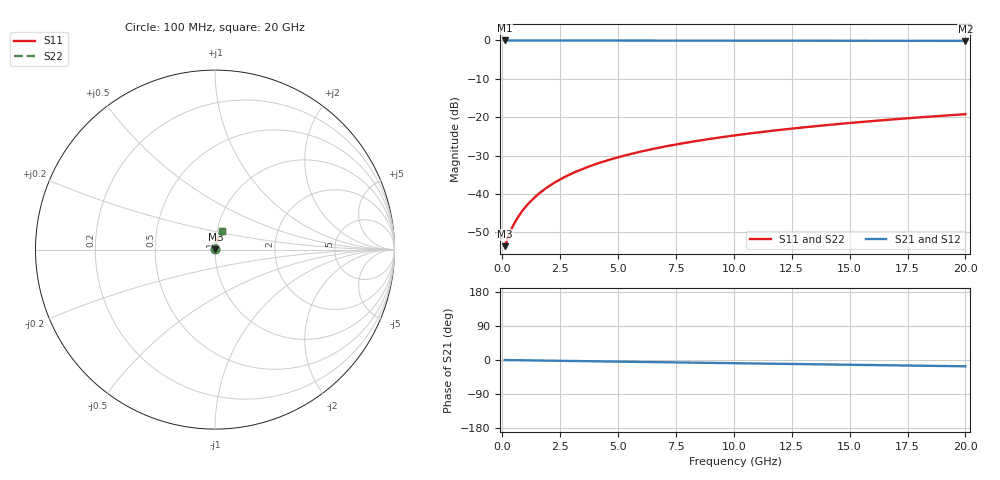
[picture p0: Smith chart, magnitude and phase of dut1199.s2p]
! Touchstone file exported from HFSS 2026.1.0
!  File:  C:/ffzhzh/LocalFiles/Ansys_Project_Files/temp_train_TMRDL_1199_1783162951_55132.aedt
!  Generated:  07:03:41 PM Jul  4, 2026
!  Design:  TMRDL
!  Project:  temp_train_TMRDL_1199_1783162951_55132
! Variables:
!  h_bsmrdl = 2um
!  h_ox = 20um
!  h_rdl = 5um
!  h_sub = 80um
!  h_tmrdl = 3.93um
!  h_tsv = 80um
!  h_via = 3um
!  l_bsmrdl = 300um
!  l_sub = 667.82um
!  l_tmrdl = 267.82um
!  m_sub = 200um
!  pitch = 22.55um
!  r_tsv = 6um
!  s_tmrdl = 10um
!  w_bsmrdl = 18um
!  w_sub = 500um
!  w_tmrdl = 13.39um
!  x_tsv_center1 = 274.515um
!  x_tsv_center2 = 592.515um
!  x_tsv_center3 = 873.725um
!  x_tsv_center4 = 1191.725um
!  x_tsv_center5 = 1472.935um
!  x_tsv_center6 = 1790.935um
# GHz S MA R 50.000000
! Terminal data exported
! Port[1] = TM_RDL1_1_T1
! Port[2] = TM_RDL1_1_T2
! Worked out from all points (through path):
!   200 points, 100 MHz to 20 GHz, reference 50 ohm
!   highest |S21| = -0.02 dB at 100 MHz (marker M1); lowest = -0.1 dB at 20 GHz (marker M2)
!   group delay of S21, straight-line fit = 2.31 ps
!   lowest |S11| = -53.6 dB at 100 MHz (marker M3), VSWR 1.00, Z = 50.2 + j0.0733 ohm
!   |S11| at or under -10 dB: start of sweep to end of sweep
!   |S22| runs from -53.6 to -19.2 dB; largest |S21 - S12| = 4e-15
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0.1  0.002082 20.5  0.9981 -0.1  0.9981 -0.1  0.002082 20.5
! Gamma 0 0 0 0
! Port Impedance 50 0 50 0
0.3  0.002971 44.5  0.9979 -0.3  0.9979 -0.3  0.002971 44.5
0.4  0.003491 50.7  0.9978 -0.4  0.9978 -0.4  0.003491 50.7
0.6  0.004552 58.9  0.9977 -0.5  0.9977 -0.5  0.004552 58.9
0.7  0.005091 61.7  0.9976 -0.6  0.9976 -0.6  0.005091 61.7
0.9  0.006188 66.0  0.9975 -0.8  0.9975 -0.8  0.006188 66.0
1.1  0.007308 69.1  0.9975 -1.0  0.9975 -1.0  0.007308 69.1
1.3  0.008447 71.4  0.9974 -1.1  0.9974 -1.1  0.008447 71.4
1.7  0.01076 74.3  0.9973 -1.5  0.9973 -1.5  0.01076 74.3
2.2  0.01369 76.4  0.9971 -1.9  0.9971 -1.9  0.01369 76.4
2.8  0.01721 77.7  0.9969 -2.4  0.9969 -2.4  0.01721 77.7
3.5  0.02131 78.4  0.9966 -3.0  0.9966 -3.0  0.02131 78.4
4.2  0.02538 78.6  0.9963 -3.6  0.9963 -3.6  0.02538 78.6
5  0.02998 78.5  0.9958 -4.3  0.9958 -4.3  0.02998 78.5
5.9  0.03509 78.2  0.9953 -5.1  0.9953 -5.1  0.03509 78.2
6.8  0.04013 77.8  0.9947 -5.8  0.9947 -5.8  0.04013 77.8
8.3  0.0484 76.9  0.9937 -7.1  0.9937 -7.1  0.0484 76.9
10.1  0.05813 75.8  0.9925 -8.6  0.9925 -8.6  0.05813 75.7
11.7  0.06665 74.7  0.9915 -9.9  0.9915 -9.9  0.06665 74.7
13.4  0.07557 73.5  0.9903 -11.3  0.9903 -11.3  0.07557 73.5
16.7  0.0926 71.3  0.988 -14.0  0.988 -14.0  0.0926 71.3
20  0.1093 68.9  0.9856 -16.6  0.9856 -16.6  0.1093 68.9
